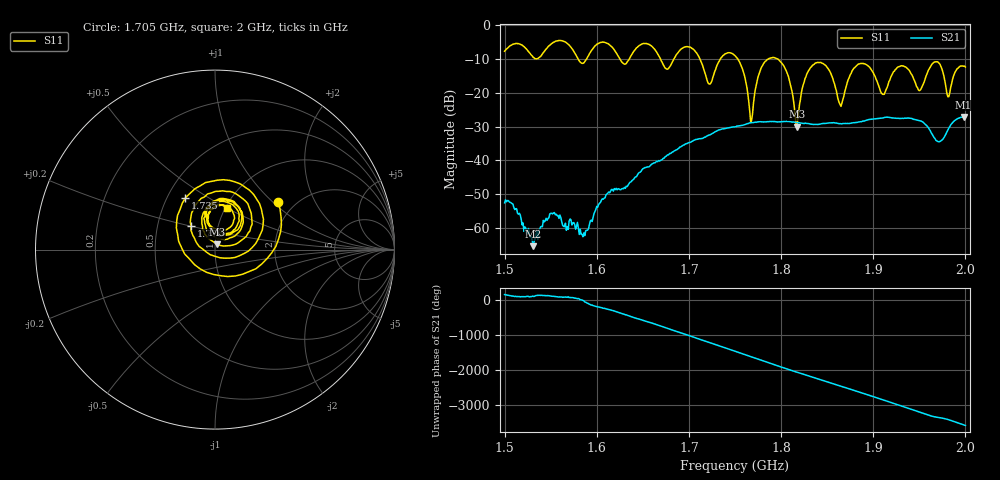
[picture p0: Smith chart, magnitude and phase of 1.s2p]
! NanoVNA-App by SYSJOINT et al v1.1.209 (+OD18)
! Date: 2026-01-21 14:39:27
! Start: 1,5GHz Stop: 2GHz Points: 501
! S-Parameter data: F S11 S21 S12 S22
# Hz S RI R 50
!  Frequency  S11_Real  S11_Imag  S21_Real  S21_Imag  S12_Real  S12_Imag  S22_Real  S22_Imag
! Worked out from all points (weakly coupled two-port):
!   501 points, 1.5 GHz to 2 GHz, reference 50 ohm
!   highest |S21| = -27.10 dB at 1.998 GHz (marker M1); lowest = -65.4 dB at 1.531 GHz (marker M2)
!   lowest |S11| = -30.0 dB at 1.817 GHz (marker M3), VSWR 1.07, Z = 50.9 + j3.04 ohm
!   |S11| at or under -10 dB: 1.712 GHz to 1.734 GHz (22.03 MHz wide, 1.28 % of centre); 1.753 GHz to 1.786 GHz (32.9 MHz wide, 1.86 % of centre); 1.797 GHz to end of sweep (the widest 3 of 6)
!   S12 and S22 are empty: the file has one direction only
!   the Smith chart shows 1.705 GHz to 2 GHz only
!   S11 on the Smith chart (normalised r, x): 1.705 GHz: 1.65, +1.08; 1.735 GHz: 0.62, +0.40; 1.776 GHz: 0.74, +0.20; 2 GHz: 1.02, +0.50
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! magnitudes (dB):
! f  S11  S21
! 1.5 GHz  -7.7  -52.5
! 1.531 GHz  -9.5  -65.4
! 1.552 GHz  -5.3  -55.8
! 1.584 GHz  -11.2  -61.9
! 1.667 GHz  -8.9  -40.0
! 1.705 GHz  -7.1  -34.1
! 1.722 GHz  -17.4  -32.4
! 1.735 GHz  -9.6  -30.8
! 1.75 GHz  -9.0  -30.0
! 1.767 GHz  -28.6  -28.8
! 1.776 GHz  -14.5  -28.5
! 1.8 GHz  -10.9  -28.6
! 1.817 GHz  -30.0  -28.8
! 1.834 GHz  -11.8  -29.3
! 1.864 GHz  -23.4  -29.1
! 1.885 GHz  -11.4  -28.6
! 1.917 GHz  -16.6  -27.2
! 1.951 GHz  -19.2  -28.2
! 1.969 GHz  -10.8  -34.2
! 1.982 GHz  -21.1  -30.4
! 1.998 GHz  -12.1  -27.1
! 2 GHz  -12.3  -27.2
